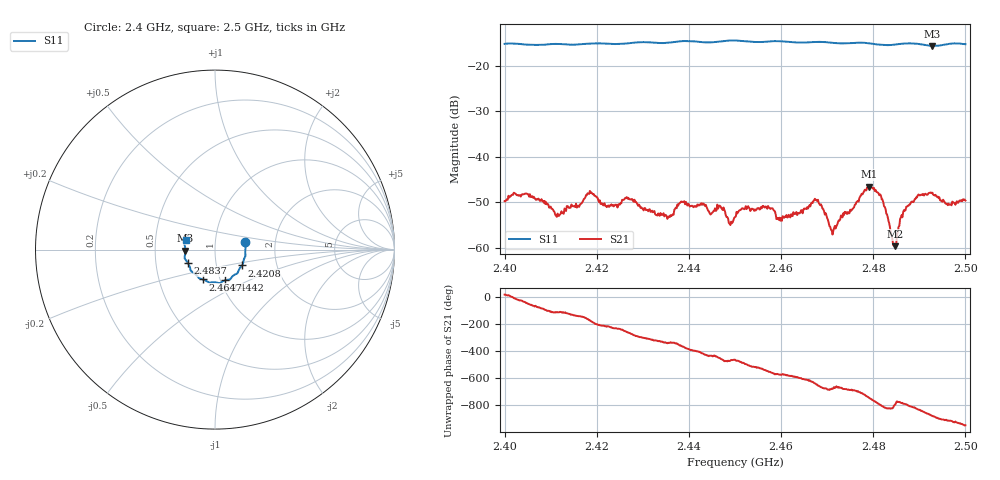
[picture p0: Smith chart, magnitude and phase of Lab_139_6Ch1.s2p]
# Hz S RI R 50
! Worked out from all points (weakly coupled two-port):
!   601 points, 2.4 GHz to 2.5 GHz, reference 50 ohm
!   highest |S21| = -46.54 dB at 2.4792 GHz (marker M1); lowest = -59.6 dB at 2.4847 GHz (marker M2)
!   lowest |S11| = -15.6 dB at 2.4928 GHz (marker M3), VSWR 1.40, Z = 35.8 - j0.405 ohm
!   |S11| at or under -10 dB: start of sweep to end of sweep
!   S12 and S22 are empty: the file has one direction only
!   S11 on the Smith chart (normalised r, x): 2.4 GHz: 1.40, +0.12; 2.4208 GHz: 1.33, -0.24; 2.4442 GHz: 1.05, -0.37; 2.4647 GHz: 0.83, -0.28; 2.4837 GHz: 0.73, -0.11; 2.5 GHz: 0.71, +0.08
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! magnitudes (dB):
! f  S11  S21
! 2.4 GHz  -15.2  -49.8
! 2.405 GHz  -15.4  -48.2
! 2.4115 GHz  -15.2  -52.5
! 2.4167 GHz  -15.3  -50.3
! 2.4185 GHz  -15.2  -47.5
! 2.4208 GHz  -15.1  -50.4
! 2.4267 GHz  -15.1  -49.2
! 2.4333 GHz  -15.0  -52.4
! 2.4385 GHz  -14.6  -50.0
! 2.4442 GHz  -14.9  -51.9
! 2.45 GHz  -14.5  -53.3
! 2.4647 GHz  -14.9  -52.4
! 2.4667 GHz  -14.8  -50.1
! 2.4713 GHz  -15.0  -56.3
! 2.4792 GHz  -15.1  -46.5
! 2.4817 GHz  -15.4  -48.5
! 2.4833 GHz  -15.5  -54.2
! 2.4837 GHz  -15.5  -55.7
! 2.4847 GHz  -15.4  -59.6
! 2.487 GHz  -15.1  -51.7
! 2.4928 GHz  -15.6  -47.9
! 2.5 GHz  -15.3  -49.6
